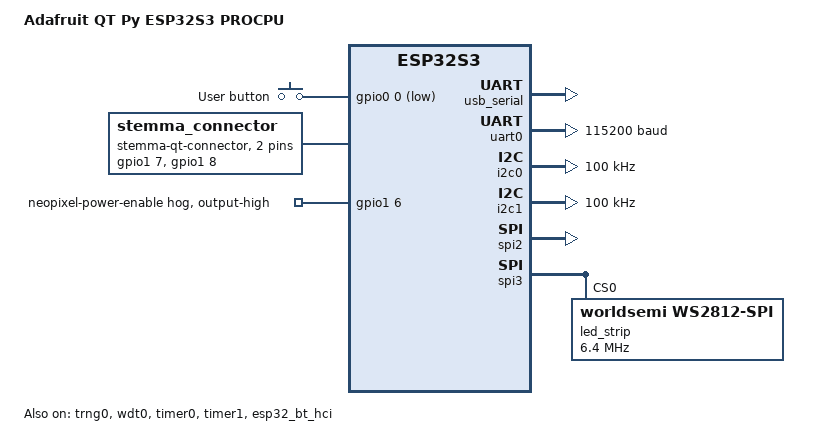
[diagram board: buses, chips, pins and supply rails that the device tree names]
/*
 * Copyright (c) 2023 Seeed Studio inc.
 * Copyright (c) 2024 Ian Wakely
 *
 * SPDX-License-Identifier: Apache-2.0
 */

/dts-v1/;

#include <espressif/esp32s3/esp32s3_wroom_n8.dtsi>
#include <zephyr/dt-bindings/led/led.h>
#include <zephyr/dt-bindings/input/input-event-codes.h>
#include "adafruit_qt_py_esp32s3-pinctrl.dtsi"
#include "seeed_xiao_connector.dtsi"
#include <espressif/partitions_0x0_amp.dtsi>

/ {
	model = "Adafruit QT Py ESP32S3 PROCPU";
	compatible = "seeed,xiao-esp32s3";

	chosen {
		zephyr,sram = &sram1;
		zephyr,console = &usb_serial;
		zephyr,shell-uart = &usb_serial;
		zephyr,flash = &flash0;
		zephyr,code-partition = &slot0_partition;
		zephyr,bt-hci = &esp32_bt_hci;
	};

	aliases {
		i2c-0 = &i2c0;
		watchdog0 = &wdt0;
		led-strip = &led_strip;
		sw0 = &button0;
	};

	buttons {
		compatible = "gpio-keys";

		button0: button_0 {
			gpios = <&gpio0 0 (GPIO_PULL_UP | GPIO_ACTIVE_LOW)>;
			label = "User button";
			zephyr,code = <INPUT_KEY_0>;
		};
	};

	stemma_connector: stemma_connector {
		compatible = "stemma-qt-connector";
		#gpio-cells = <2>;
		gpio-map-mask = <0xffffffff 0xffffffc0>;
		gpio-map-pass-thru = <0 0x3f>;
		gpio-map = <0 0 &gpio1 7 0>,
			   <1 0 &gpio1 8 0>;
	};
};

&usb_serial {
	status = "okay";
};

&uart0 {
	status = "okay";
	current-speed = <115200>;
	pinctrl-0 = <&uart0_default>;
	pinctrl-names = "default";
};

&i2c0 {
	status = "okay";
	clock-frequency = <I2C_BITRATE_STANDARD>;
	pinctrl-0 = <&i2c0_default>;
	pinctrl-names = "default";
};

zephyr_i2c: &i2c1 {
	status = "okay";
	clock-frequency = <I2C_BITRATE_STANDARD>;
	pinctrl-0 = <&i2c1_default>;
	pinctrl-names = "default";
};

&trng0 {
	status = "okay";
};

&spi2 {
	#address-cells = <1>;
	#size-cells = <0>;
	status = "okay";
	pinctrl-0 = <&spim2_default>;
	pinctrl-names = "default";
};

&spi3 {
	#address-cells = <1>;
	#size-cells = <0>;
	status = "okay";
	pinctrl-0 = <&spim3_ws2812_led>;
	pinctrl-names = "default";

	line-idle-low;

	led_strip: ws2812@0 {
		compatible = "worldsemi,ws2812-spi";

		/* SPI */
		reg = <0>; /* ignored, but necessary for SPI bindings */
		spi-max-frequency = <6400000>;

		/* WS2812 */
		chain-length = <1>;
		spi-cpha;
		spi-one-frame = <0xf0>; /* 11110000: 625 ns high and 625 ns low */
		spi-zero-frame = <0xc0>; /* 11000000: 312.5 ns high and 937.5 ns low */
		color-mapping = <LED_COLOR_ID_GREEN
				 LED_COLOR_ID_RED
				 LED_COLOR_ID_BLUE>;
	};
};

&gpio0 {
	status = "okay";
};

&gpio1 {
	status = "okay";

	/*
	 * Unlike some of the other Adafruit boards, the neopixel on this board has
	 * its positive side hooked up to a GPIO pin rather than a positive voltage
	 * rail to save on power. This will enable the LED on board initialization.
	 */
	neopixel-power-enable {
		gpio-hog;
		gpios = <6 GPIO_ACTIVE_HIGH>;
		output-high;
	};
};

&wdt0 {
	status = "okay";
};

&twai {
	pinctrl-0 = <&twai_default>;
	pinctrl-names = "default";
};

&timer0 {
	status = "okay";
};

&timer1 {
	status = "okay";
};

&esp32_bt_hci {
	status = "okay";
};
